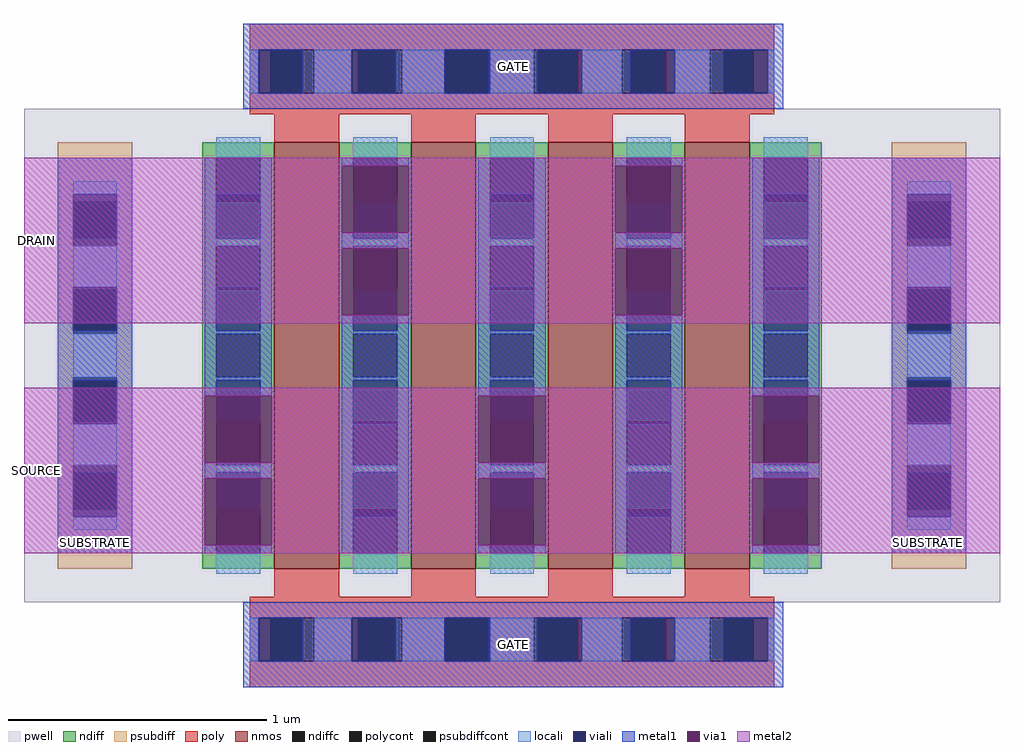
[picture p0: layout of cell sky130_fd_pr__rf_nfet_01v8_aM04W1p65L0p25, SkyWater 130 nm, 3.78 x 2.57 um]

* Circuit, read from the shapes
.subckt sky130_fd_pr__rf_nfet_01v8_aM04W1p65L0p25 DRAIN GATE SOURCE SUBSTRATE
XM1 DRAIN GATE SOURCE SUBSTRATE sky130_fd_pr__nfet_01v8 w=1.65 l=0.25 m=4
.ends

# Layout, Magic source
magic
tech sky130A
magscale 1 2
<< pwell >>
rect 10 76 766 458
<< nmos >>
rect 204 102 254 432
rect 310 102 360 432
rect 416 102 466 432
rect 522 102 572 432
<< ndiff >>
rect 148 420 204 432
rect 148 386 159 420
rect 193 386 204 420
rect 148 352 204 386
rect 148 318 159 352
rect 193 318 204 352
rect 148 284 204 318
rect 148 250 159 284
rect 193 250 204 284
rect 148 216 204 250
rect 148 182 159 216
rect 193 182 204 216
rect 148 148 204 182
rect 148 114 159 148
rect 193 114 204 148
rect 148 102 204 114
rect 254 420 310 432
rect 254 386 265 420
rect 299 386 310 420
rect 254 352 310 386
rect 254 318 265 352
rect 299 318 310 352
rect 254 284 310 318
rect 254 250 265 284
rect 299 250 310 284
rect 254 216 310 250
rect 254 182 265 216
rect 299 182 310 216
rect 254 148 310 182
rect 254 114 265 148
rect 299 114 310 148
rect 254 102 310 114
rect 360 420 416 432
rect 360 386 371 420
rect 405 386 416 420
rect 360 352 416 386
rect 360 318 371 352
rect 405 318 416 352
rect 360 284 416 318
rect 360 250 371 284
rect 405 250 416 284
rect 360 216 416 250
rect 360 182 371 216
rect 405 182 416 216
rect 360 148 416 182
rect 360 114 371 148
rect 405 114 416 148
rect 360 102 416 114
rect 466 420 522 432
rect 466 386 477 420
rect 511 386 522 420
rect 466 352 522 386
rect 466 318 477 352
rect 511 318 522 352
rect 466 284 522 318
rect 466 250 477 284
rect 511 250 522 284
rect 466 216 522 250
rect 466 182 477 216
rect 511 182 522 216
rect 466 148 522 182
rect 466 114 477 148
rect 511 114 522 148
rect 466 102 522 114
rect 572 420 628 432
rect 572 386 583 420
rect 617 386 628 420
rect 572 352 628 386
rect 572 318 583 352
rect 617 318 628 352
rect 572 284 628 318
rect 572 250 583 284
rect 617 250 628 284
rect 572 216 628 250
rect 572 182 583 216
rect 617 182 628 216
rect 572 148 628 182
rect 572 114 583 148
rect 617 114 628 148
rect 572 102 628 114
<< ndiffc >>
rect 159 386 193 420
rect 159 318 193 352
rect 159 250 193 284
rect 159 182 193 216
rect 159 114 193 148
rect 265 386 299 420
rect 265 318 299 352
rect 265 250 299 284
rect 265 182 299 216
rect 265 114 299 148
rect 371 386 405 420
rect 371 318 405 352
rect 371 250 405 284
rect 371 182 405 216
rect 371 114 405 148
rect 477 386 511 420
rect 477 318 511 352
rect 477 250 511 284
rect 477 182 511 216
rect 477 114 511 148
rect 583 386 617 420
rect 583 318 617 352
rect 583 250 617 284
rect 583 182 617 216
rect 583 114 617 148
<< psubdiff >>
rect 36 386 94 432
rect 36 352 48 386
rect 82 352 94 386
rect 36 318 94 352
rect 36 284 48 318
rect 82 284 94 318
rect 36 250 94 284
rect 36 216 48 250
rect 82 216 94 250
rect 36 182 94 216
rect 36 148 48 182
rect 82 148 94 182
rect 36 102 94 148
rect 682 386 740 432
rect 682 352 694 386
rect 728 352 740 386
rect 682 318 740 352
rect 682 284 694 318
rect 728 284 740 318
rect 682 250 740 284
rect 682 216 694 250
rect 728 216 740 250
rect 682 182 740 216
rect 682 148 694 182
rect 728 148 740 182
rect 682 102 740 148
<< psubdiffcont >>
rect 48 352 82 386
rect 48 284 82 318
rect 48 216 82 250
rect 48 148 82 182
rect 694 352 728 386
rect 694 284 728 318
rect 694 216 728 250
rect 694 148 728 182
<< poly >>
rect 185 504 591 524
rect 185 470 201 504
rect 235 470 269 504
rect 303 470 337 504
rect 371 470 405 504
rect 439 470 473 504
rect 507 470 541 504
rect 575 470 591 504
rect 185 454 591 470
rect 204 432 254 454
rect 310 432 360 454
rect 416 432 466 454
rect 522 432 572 454
rect 204 80 254 102
rect 310 80 360 102
rect 416 80 466 102
rect 522 80 572 102
rect 185 64 591 80
rect 185 30 201 64
rect 235 30 269 64
rect 303 30 337 64
rect 371 30 405 64
rect 439 30 473 64
rect 507 30 541 64
rect 575 30 591 64
rect 185 10 591 30
<< polycont >>
rect 201 470 235 504
rect 269 470 303 504
rect 337 470 371 504
rect 405 470 439 504
rect 473 470 507 504
rect 541 470 575 504
rect 201 30 235 64
rect 269 30 303 64
rect 337 30 371 64
rect 405 30 439 64
rect 473 30 507 64
rect 541 30 575 64
<< locali >>
rect 185 470 192 504
rect 235 470 264 504
rect 303 470 336 504
rect 371 470 405 504
rect 442 470 473 504
rect 514 470 541 504
rect 586 470 591 504
rect 159 420 193 436
rect 48 392 82 402
rect 48 320 82 352
rect 48 250 82 284
rect 48 182 82 214
rect 48 132 82 142
rect 159 352 193 358
rect 159 284 193 286
rect 159 248 193 250
rect 159 176 193 182
rect 159 98 193 114
rect 265 420 299 436
rect 265 352 299 358
rect 265 284 299 286
rect 265 248 299 250
rect 265 176 299 182
rect 265 98 299 114
rect 371 420 405 436
rect 371 352 405 358
rect 371 284 405 286
rect 371 248 405 250
rect 371 176 405 182
rect 371 98 405 114
rect 477 420 511 436
rect 477 352 511 358
rect 477 284 511 286
rect 477 248 511 250
rect 477 176 511 182
rect 477 98 511 114
rect 583 420 617 436
rect 583 352 617 358
rect 583 284 617 286
rect 583 248 617 250
rect 583 176 617 182
rect 694 392 728 402
rect 694 320 728 352
rect 694 250 728 284
rect 694 182 728 214
rect 694 132 728 142
rect 583 98 617 114
rect 185 30 192 64
rect 235 30 264 64
rect 303 30 336 64
rect 371 30 405 64
rect 442 30 473 64
rect 514 30 541 64
rect 586 30 591 64
<< viali >>
rect 192 470 201 504
rect 201 470 226 504
rect 264 470 269 504
rect 269 470 298 504
rect 336 470 337 504
rect 337 470 370 504
rect 408 470 439 504
rect 439 470 442 504
rect 480 470 507 504
rect 507 470 514 504
rect 552 470 575 504
rect 575 470 586 504
rect 48 386 82 392
rect 48 358 82 386
rect 48 318 82 320
rect 48 286 82 318
rect 48 216 82 248
rect 48 214 82 216
rect 48 148 82 176
rect 48 142 82 148
rect 159 386 193 392
rect 159 358 193 386
rect 159 318 193 320
rect 159 286 193 318
rect 159 216 193 248
rect 159 214 193 216
rect 159 148 193 176
rect 159 142 193 148
rect 265 386 299 392
rect 265 358 299 386
rect 265 318 299 320
rect 265 286 299 318
rect 265 216 299 248
rect 265 214 299 216
rect 265 148 299 176
rect 265 142 299 148
rect 371 386 405 392
rect 371 358 405 386
rect 371 318 405 320
rect 371 286 405 318
rect 371 216 405 248
rect 371 214 405 216
rect 371 148 405 176
rect 371 142 405 148
rect 477 386 511 392
rect 477 358 511 386
rect 477 318 511 320
rect 477 286 511 318
rect 477 216 511 248
rect 477 214 511 216
rect 477 148 511 176
rect 477 142 511 148
rect 583 386 617 392
rect 583 358 617 386
rect 583 318 617 320
rect 583 286 617 318
rect 583 216 617 248
rect 583 214 617 216
rect 583 148 617 176
rect 583 142 617 148
rect 694 386 728 392
rect 694 358 728 386
rect 694 318 728 320
rect 694 286 728 318
rect 694 216 728 248
rect 694 214 728 216
rect 694 148 728 176
rect 694 142 728 148
rect 192 30 201 64
rect 201 30 226 64
rect 264 30 269 64
rect 269 30 298 64
rect 336 30 337 64
rect 337 30 370 64
rect 408 30 439 64
rect 439 30 442 64
rect 480 30 507 64
rect 507 30 514 64
rect 552 30 575 64
rect 575 30 586 64
<< metal1 >>
rect 180 504 598 524
rect 180 470 192 504
rect 226 470 264 504
rect 298 470 336 504
rect 370 470 408 504
rect 442 470 480 504
rect 514 470 552 504
rect 586 470 598 504
rect 180 458 598 470
rect 36 392 94 420
rect 36 358 48 392
rect 82 358 94 392
rect 36 320 94 358
rect 36 286 48 320
rect 82 286 94 320
rect 36 248 94 286
rect 36 214 48 248
rect 82 214 94 248
rect 36 176 94 214
rect 36 142 48 176
rect 82 142 94 176
rect 36 114 94 142
rect 150 392 202 420
rect 150 358 159 392
rect 193 358 202 392
rect 150 320 202 358
rect 150 286 159 320
rect 193 286 202 320
rect 150 248 202 286
rect 150 236 159 248
rect 193 236 202 248
rect 150 176 202 184
rect 150 172 159 176
rect 193 172 202 176
rect 150 114 202 120
rect 256 414 308 420
rect 256 358 265 362
rect 299 358 308 362
rect 256 350 308 358
rect 256 286 265 298
rect 299 286 308 298
rect 256 248 308 286
rect 256 214 265 248
rect 299 214 308 248
rect 256 176 308 214
rect 256 142 265 176
rect 299 142 308 176
rect 256 114 308 142
rect 362 392 414 420
rect 362 358 371 392
rect 405 358 414 392
rect 362 320 414 358
rect 362 286 371 320
rect 405 286 414 320
rect 362 248 414 286
rect 362 236 371 248
rect 405 236 414 248
rect 362 176 414 184
rect 362 172 371 176
rect 405 172 414 176
rect 362 114 414 120
rect 468 414 520 420
rect 468 358 477 362
rect 511 358 520 362
rect 468 350 520 358
rect 468 286 477 298
rect 511 286 520 298
rect 468 248 520 286
rect 468 214 477 248
rect 511 214 520 248
rect 468 176 520 214
rect 468 142 477 176
rect 511 142 520 176
rect 468 114 520 142
rect 574 392 626 420
rect 574 358 583 392
rect 617 358 626 392
rect 574 320 626 358
rect 574 286 583 320
rect 617 286 626 320
rect 574 248 626 286
rect 574 236 583 248
rect 617 236 626 248
rect 574 176 626 184
rect 574 172 583 176
rect 617 172 626 176
rect 574 114 626 120
rect 682 392 740 420
rect 682 358 694 392
rect 728 358 740 392
rect 682 320 740 358
rect 682 286 694 320
rect 728 286 740 320
rect 682 248 740 286
rect 682 214 694 248
rect 728 214 740 248
rect 682 176 740 214
rect 682 142 694 176
rect 728 142 740 176
rect 682 114 740 142
rect 180 64 598 76
rect 180 30 192 64
rect 226 30 264 64
rect 298 30 336 64
rect 370 30 408 64
rect 442 30 480 64
rect 514 30 552 64
rect 586 30 598 64
rect 180 10 598 30
<< via1 >>
rect 150 214 159 236
rect 159 214 193 236
rect 193 214 202 236
rect 150 184 202 214
rect 150 142 159 172
rect 159 142 193 172
rect 193 142 202 172
rect 150 120 202 142
rect 256 392 308 414
rect 256 362 265 392
rect 265 362 299 392
rect 299 362 308 392
rect 256 320 308 350
rect 256 298 265 320
rect 265 298 299 320
rect 299 298 308 320
rect 362 214 371 236
rect 371 214 405 236
rect 405 214 414 236
rect 362 184 414 214
rect 362 142 371 172
rect 371 142 405 172
rect 405 142 414 172
rect 362 120 414 142
rect 468 392 520 414
rect 468 362 477 392
rect 477 362 511 392
rect 511 362 520 392
rect 468 320 520 350
rect 468 298 477 320
rect 477 298 511 320
rect 511 298 520 320
rect 574 214 583 236
rect 583 214 617 236
rect 617 214 626 236
rect 574 184 626 214
rect 574 142 583 172
rect 583 142 617 172
rect 617 142 626 172
rect 574 120 626 142
<< metal2 >>
rect 10 414 766 420
rect 10 362 256 414
rect 308 362 468 414
rect 520 362 766 414
rect 10 350 766 362
rect 10 298 256 350
rect 308 298 468 350
rect 520 298 766 350
rect 10 292 766 298
rect 10 236 766 242
rect 10 184 150 236
rect 202 184 362 236
rect 414 184 574 236
rect 626 184 766 236
rect 10 172 766 184
rect 10 120 150 172
rect 202 120 362 172
rect 414 120 574 172
rect 626 120 766 172
rect 10 114 766 120
<< labels >>
flabel metal2 s 10 114 30 242 7 FreeSans 300 180 0 0 SOURCE
port 3 nsew
flabel metal2 s 10 292 30 420 7 FreeSans 300 180 0 0 DRAIN
port 1 nsew
flabel metal1 s 180 10 598 76 0 FreeSans 300 0 0 0 GATE
port 2 nsew
flabel metal1 s 36 114 94 130 3 FreeSans 300 90 0 0 SUBSTRATE
port 4 nsew
flabel metal1 s 682 114 740 130 3 FreeSans 300 90 0 0 SUBSTRATE
port 4 nsew
flabel metal1 s 180 458 598 524 0 FreeSans 300 0 0 0 GATE
port 2 nsew
<< properties >>
string GDS_FILE $PDKPATH/libs.ref/sky130_fd_pr/gds/sky130_fd_pr.gds
string GDS_END 5255884
string GDS_START 5245104
<< end >>
